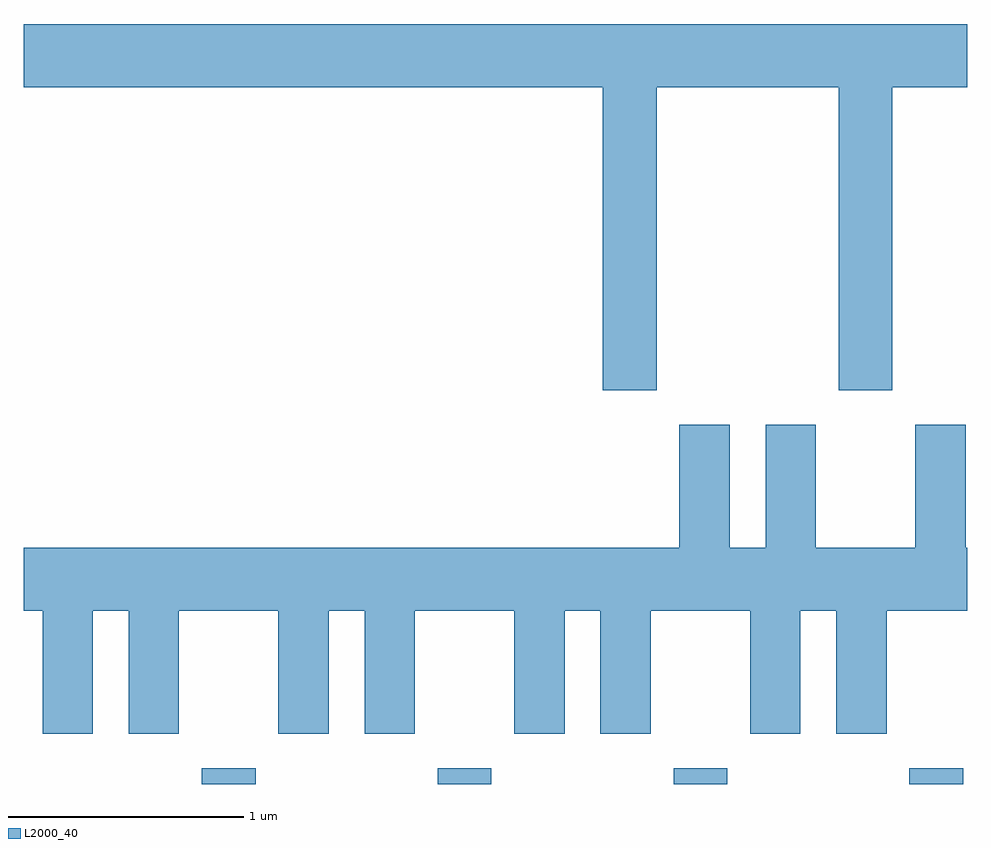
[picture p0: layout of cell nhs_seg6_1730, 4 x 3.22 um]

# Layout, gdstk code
import gdstk
lib = gdstk.Library(unit=1e-6, precision=1e-09)
def R(c, l, rs):  # rectangles x0, y0, x1, y1
    for r in rs: c.add(gdstk.rectangle(r[:2], r[2:], *l))
def A(c, l, x, y, w, h, nx, ny, dx, dy):  # array of equal rectangles
    R(c, l, [(x+i*dx, y+j*dy, x+i*dx+w, y+j*dy+h) for i in range(nx) for j in range(ny)])
def P(c, l, *ps):  # polygons
    for p in ps: c.add(gdstk.Polygon(p, *l))
L2000_40 = (2000, 40)

nhs_seg6_1730 = lib.new_cell('nhs_seg6_1730')
A(nhs_seg6_1730, L2000_40, 238.366, 1578.162, 0.228, 0.067, 4, 1, 1, 0)
P(nhs_seg6_1730, L2000_40, [(240.294,1581.116),(241.066,1581.116),(241.066,1579.831),(241.294,1579.831),(241.294,1581.116),(241.611,1581.116),(241.611,1581.384),(237.611,1581.384),(237.611,1581.116),(240.066,1581.116),(240.066,1579.831),(240.294,1579.831)],
  [(240.904,1578.896),(241.056,1578.896),(241.056,1578.376),(241.269,1578.376),(241.269,1578.896),(241.611,1578.896),(241.611,1579.164),(241.604,1579.164),(241.604,1579.684),(241.391,1579.684),(241.391,1579.164),(240.969,1579.164),(240.969,1579.684),(240.756,1579.684),(240.756,1579.164),(240.604,1579.164),(240.604,1579.684),(240.391,1579.684),(240.391,1579.164),(237.611,1579.164),(237.611,1578.896),(237.691,1578.896),(237.691,1578.376),(237.904,1578.376),(237.904,1578.896),(238.056,1578.896),(238.056,1578.376),(238.269,1578.376),(238.269,1578.896),(238.691,1578.896),(238.691,1578.376),(238.904,1578.376),(238.904,1578.896),(239.056,1578.896),(239.056,1578.376),(239.269,1578.376),(239.269,1578.896),(239.691,1578.896),(239.691,1578.376),(239.904,1578.376),(239.904,1578.896),(240.056,1578.896),(240.056,1578.376),(240.269,1578.376),(240.269,1578.896),(240.691,1578.896),(240.691,1578.376),(240.904,1578.376)])

lib.write_gds('nhs_seg6_1730.gds')
